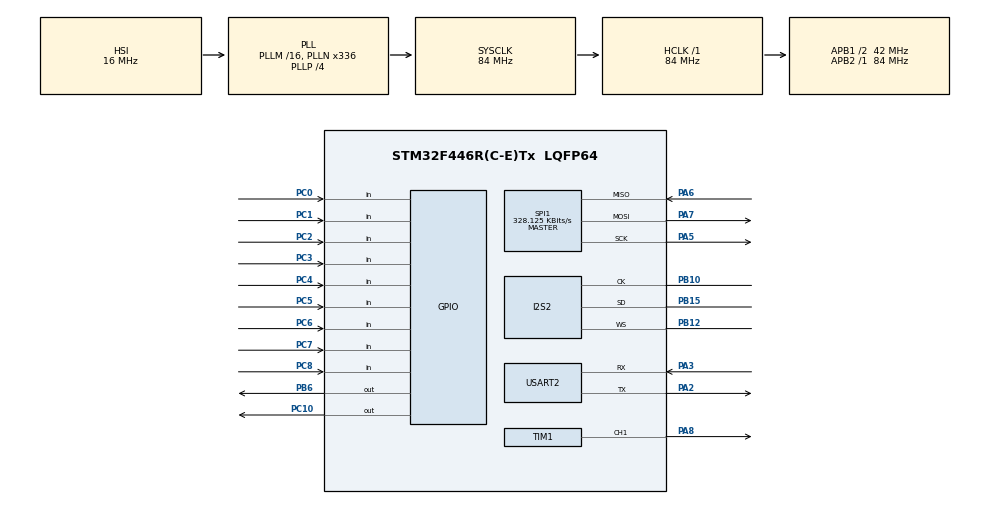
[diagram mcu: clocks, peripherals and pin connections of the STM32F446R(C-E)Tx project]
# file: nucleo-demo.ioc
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Dma.Request0=TIM1_CH1
Dma.Request1=SPI2_TX
Dma.SPI2_TX.1.Direction=DMA_MEMORY_TO_PERIPH
Dma.SPI2_TX.1.FIFOMode=DMA_FIFOMODE_DISABLE
Dma.SPI2_TX.1.Instance=DMA1_Stream4
Dma.SPI2_TX.1.MemDataAlignment=DMA_MDATAALIGN_HALFWORD
Dma.SPI2_TX.1.MemInc=DMA_MINC_ENABLE
Dma.SPI2_TX.1.Mode=DMA_CIRCULAR
Dma.SPI2_TX.1.PeriphDataAlignment=DMA_PDATAALIGN_HALFWORD
Dma.SPI2_TX.1.PeriphInc=DMA_PINC_DISABLE
Dma.SPI2_TX.1.Priority=DMA_PRIORITY_LOW
Dma.TIM1_CH1.0.Direction=DMA_MEMORY_TO_PERIPH
Dma.TIM1_CH1.0.FIFOMode=DMA_FIFOMODE_DISABLE
Dma.TIM1_CH1.0.Instance=DMA2_Stream1
Dma.TIM1_CH1.0.MemDataAlignment=DMA_MDATAALIGN_HALFWORD
Dma.TIM1_CH1.0.MemInc=DMA_MINC_ENABLE
Dma.TIM1_CH1.0.Mode=DMA_NORMAL
Dma.TIM1_CH1.0.PeriphDataAlignment=DMA_PDATAALIGN_HALFWORD
Dma.TIM1_CH1.0.PeriphInc=DMA_PINC_DISABLE
Dma.TIM1_CH1.0.Priority=DMA_PRIORITY_LOW
I2S2.AudioFreq=I2S_AUDIOFREQ_16K
I2S2.ErrorAudioFreq=-0.26 %
I2S2.FullDuplexMode=I2S_FULLDUPLEXMODE_DISABLE
I2S2.Instance=SPI$Index
I2S2.RealAudioFreq=15.957 KHz
I2S2.VirtualMode=I2S_MODE_MASTER
Mcu.Family=STM32F4
Mcu.Name=STM32F446R(C-E)Tx
Mcu.Package=LQFP64
NVIC.DMA1_Stream4_IRQn=true\:2\:0\:false\:false\:true\:false\:true\:true
NVIC.DMA2_Stream1_IRQn=true\:1\:0\:false\:false\:true\:false\:true\:true
NVIC.PriorityGroup=NVIC_PRIORITYGROUP_4
NVIC.TIM2_IRQn=true\:1\:0\:false\:false\:true\:true\:true\:true
PA2.Mode=Asynchronous
PA2.Signal=USART2_TX
PA3.Mode=Asynchronous
PA3.Signal=USART2_RX
PA5.Mode=Full_Duplex_Master
PA5.Signal=SPI1_SCK
PA6.GPIO_PuPd=GPIO_PULLUP
PA6.Mode=Full_Duplex_Master
PA6.Signal=SPI1_MISO
PA7.Mode=Full_Duplex_Master
PA7.Signal=SPI1_MOSI
PA8.Signal=S_TIM1_CH1
PB10.GPIO_PuPd=GPIO_PULLDOWN
PB10.Mode=Half_Duplex_Master
PB10.Signal=I2S2_CK
PB12.GPIO_PuPd=GPIO_PULLDOWN
PB12.Mode=Half_Duplex_Master
PB12.Signal=I2S2_WS
PB15.GPIO_PuPd=GPIO_PULLDOWN
PB15.Mode=Half_Duplex_Master
PB15.Signal=I2S2_SD
PB6.GPIO_PuPd=GPIO_NOPULL
PB6.Signal=GPIO_Output
PC0.GPIO_PuPd=GPIO_PULLUP
PC0.Signal=GPIO_Input
PC1.GPIO_PuPd=GPIO_PULLUP
PC1.Signal=GPIO_Input
PC10.GPIO_PuPd=GPIO_NOPULL
PC10.PinState=GPIO_PIN_RESET
PC10.Signal=GPIO_Output
PC2.GPIO_PuPd=GPIO_PULLUP
PC2.Signal=GPIO_Input
PC3.GPIO_PuPd=GPIO_PULLUP
PC3.Signal=GPIO_Input
PC4.GPIO_PuPd=GPIO_PULLUP
PC4.Signal=GPIO_Input
PC5.GPIO_PuPd=GPIO_PULLUP
PC5.Signal=GPIO_Input
PC6.GPIO_PuPd=GPIO_PULLUP
PC6.Signal=GPIO_Input
PC7.GPIO_PuPd=GPIO_PULLUP
PC7.Signal=GPIO_Input
PC8.GPIO_PuPd=GPIO_PULLUP
PC8.Signal=GPIO_Input
ProjectManager.HeapSize=0x200
ProjectManager.StackSize=0x400
ProjectManager.TargetToolchain=EWARM V8.50
RCC.AHBFreq_Value=84000000
RCC.APB1CLKDivider=RCC_HCLK_DIV2
RCC.APB1Freq_Value=42000000
RCC.APB1TimFreq_Value=84000000
RCC.APB2Freq_Value=84000000
RCC.APB2TimFreq_Value=84000000
RCC.CortexFreq_Value=84000000
RCC.FLatency-AdvancedSettings=FLASH_LATENCY_2
RCC.HCLKFreq_Value=84000000
RCC.HSE_VALUE=8000000
RCC.HSI_VALUE=16000000
RCC.LSE_VALUE=32768
RCC.PLLN=336
RCC.PLLP=RCC_PLLP_DIV4
RCC.SYSCLKFreq_VALUE=84000000
RCC.SYSCLKSource=RCC_SYSCLKSOURCE_PLLCLK
RCC.USBFreq_Value=168000000
RCC.VCOOutputFreq_Value=336000000
SH.S_TIM1_CH1.0=TIM1_CH1,PWM Generation1 CH1
SPI1.BaudRatePrescaler=SPI_BAUDRATEPRESCALER_256
SPI1.CalculateBaudRate=328.125 KBits/s
SPI1.Direction=SPI_DIRECTION_2LINES
SPI1.Mode=SPI_MODE_MASTER
SPI1.VirtualType=VM_MASTER
TIM1.Channel-PWM\ Generation1\ CH1=TIM_CHANNEL_1
TIM1.CounterMode=TIM_COUNTERMODE_UP
TIM1.Period=105-1
TIM2.AutoReloadPreload=TIM_AUTORELOAD_PRELOAD_DISABLE
TIM2.Channel-Output\ Compare1\ No\ Output=TIM_CHANNEL_1
TIM2.OC1Preload=DISABLE
TIM2.Period=0xffffffff
TIM2.Pulse-Output\ Compare1\ No\ Output=84000
USART2.VirtualMode=VM_ASYNC
VP_TIM1_VS_ClockSourceINT.Mode=Internal
VP_TIM2_VS_ClockSourceINT.Mode=Internal
VP_TIM2_VS_no_output1.Mode=Output Compare1 No Output
board=NUCLEO-F446RE

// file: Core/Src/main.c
/* USER CODE BEGIN Header */
/**
  ******************************************************************************
  * @file           : main.c
  * @brief          : Main program body
  ******************************************************************************
  * @attention
  *
  * Copyright (c) 2026 STMicroelectronics.
  * All rights reserved.
  *
  * This software is licensed under terms that can be found in the LICENSE file
  * in the root directory of this software component.
  * If no LICENSE file comes with this software, it is provided AS-IS.
  *
  ******************************************************************************
  */
/* USER CODE END Header */
#include "main.h"
#include "dma.h"
#include "i2s.h"
#include "spi.h"
#include "stm32f4xx_hal.h"
#include "tim.h"
#include "usart.h"
#include "gpio.h"

/* USER CODE BEGIN Includes */
//#include "sd.h"
#include <stdint.h>
#include <stdio.h>
#include <sys/_intsup.h>

#include "led.h"
#include "input.h"
#include "dac.h"
#include "sd.h"

/* USER CODE END Includes */

/* USER CODE BEGIN PV */
typedef struct {
  uint32_t time;
  uint8_t lanes;
} note_t;

note_t rows[] = {
  {300, 0b11111111},
  {375, 0b01000000},
  {450, 0b00010000},
  {600, 0b00000100},
  {825, 0b00000001},
  {975, 0b00000100},
  {1350, 0b00010000},
  {1650, 0b00100000},
  {1875, 0b00001000},
  {2100, 0b10001001},
  {2475, 0b00100110},
  {2700, 0b01000000},
  {3150, 0b00010001},
  {3450, 0b00000100},
  {4050, 0b10000000},
  {4200, 0b00100000},
};
/* USER CODE END PV */

void SystemClock_Config(void);

/* USER CODE BEGIN 0 */
#define FRAME_SIZE 19
#define SCROLL_SPEED 75
uint32_t time_frame = FRAME_SIZE * SCROLL_SPEED;
uint8_t base = 0;
#define FRAME_MS 33
uint32_t num_rows = sizeof(rows) / sizeof(rows[0]);
uint32_t chart_time;
uint32_t song_start;

// ms since song start, looping at the last note
uint32_t get_chart_time() {
  return (HAL_GetTick() - song_start) % rows[num_rows - 1].time;
}

//TODO: bug, final row is not properly cleared
void update_display() {
  //skip first row (red bar)
  for (int i = 1; i < FRAME_SIZE; i++)
    for (int j = 0; j <= 7; j++)
      set_LED(xy(j, i), 0, 0, 0);

  for (int i = 0; i < num_rows; i++) {
    if (rows[i].time < chart_time) continue;

    uint8_t y_pos = (rows[i].time - chart_time) / SCROLL_SPEED;
    if (y_pos >= FRAME_SIZE || y_pos < 1) continue;

    //first col always red
    if (rows[i].lanes >> 7 & 1)
      set_LED(xy(0, y_pos), 255, 0, 0);

    for (int j = 0; j < 7; j++)
      if (rows[i].lanes >> j & 1)
        //reverse for endianness
        if (j & 1)
          set_LED(xy(7-j, y_pos), 0, 0, 255);
        else
          set_LED(xy(7-j, y_pos), 255, 255, 255);
  }
}

/* USER CODE END 0 */

int main(void)
{

  /* MCU Configuration--------------------------------------------------------*/

  /* Reset of all peripherals, Initializes the Flash interface and the Systick. */
  HAL_Init();

  /* Configure the system clock */
  SystemClock_Config();

  /* Initialize all configured peripherals */
  MX_GPIO_Init();
  MX_DMA_Init();
  MX_SPI1_Init();
  MX_I2S2_Init();
  MX_USART2_UART_Init();
  MX_TIM2_Init();
  MX_TIM1_Init();
  /* USER CODE BEGIN 2 */
  if (sd_init() != 0)
    printf("ERROR: SD init failed\n");
  init_input_buffer();
  audio_set_rate(16000);
  audio_init();

  /* USER CODE END 2 */

  /* Infinite loop */
  /* USER CODE BEGIN WHILE */

  for (int i = 0; i < 8; i++) {
    set_LED(xy(i, 0), 255, 0, 0);
  }
  song_start = HAL_GetTick();
  uint32_t last_frame = song_start;
  while (1) {
    if (HAL_GetTick() - last_frame >= FRAME_MS) {
      last_frame += FRAME_MS;
      chart_time = get_chart_time();
      update_display();
      set_brightness(1);
      send_LED();
    }

    input_event_t e;
    while(poll_input_event(&e)) {
      //TODO: lanes start count at 1 (0 means no event), this system needs to be improved
      if (e.lane > 0) {
        play_audio(e.lane - 1);
      }
    }

    /* USER CODE END WHILE */

  }
}

void SystemClock_Config(void)
{
  RCC_OscInitTypeDef RCC_OscInitStruct = {0};
  RCC_ClkInitTypeDef RCC_ClkInitStruct = {0};

  /** Configure the main internal regulator output voltage
  */
  __HAL_RCC_PWR_CLK_ENABLE();
  __HAL_PWR_VOLTAGESCALING_CONFIG(PWR_REGULATOR_VOLTAGE_SCALE3);

  /** Initializes the RCC Oscillators according to the specified parameters
  * in the RCC_OscInitTypeDef structure.
  */
  RCC_OscInitStruct.OscillatorType = RCC_OSCILLATORTYPE_HSI;
  RCC_OscInitStruct.HSIState = RCC_HSI_ON;
  RCC_OscInitStruct.HSICalibrationValue = RCC_HSICALIBRATION_DEFAULT;
  RCC_OscInitStruct.PLL.PLLState = RCC_PLL_ON;
  RCC_OscInitStruct.PLL.PLLSource = RCC_PLLSOURCE_HSI;
  RCC_OscInitStruct.PLL.PLLM = 16;
  RCC_OscInitStruct.PLL.PLLN = 336;
  RCC_OscInitStruct.PLL.PLLP = RCC_PLLP_DIV4;
  RCC_OscInitStruct.PLL.PLLQ = 2;
  RCC_OscInitStruct.PLL.PLLR = 2;
  if (HAL_RCC_OscConfig(&RCC_OscInitStruct) != HAL_OK)
  {
    Error_Handler();
  }

  /** Initializes the CPU, AHB and APB buses clocks
  */
  RCC_ClkInitStruct.ClockType = RCC_CLOCKTYPE_HCLK|RCC_CLOCKTYPE_SYSCLK
                              |RCC_CLOCKTYPE_PCLK1|RCC_CLOCKTYPE_PCLK2;
  RCC_ClkInitStruct.SYSCLKSource = RCC_SYSCLKSOURCE_PLLCLK;
  RCC_ClkInitStruct.AHBCLKDivider = RCC_SYSCLK_DIV1;
  RCC_ClkInitStruct.APB1CLKDivider = RCC_HCLK_DIV2;
  RCC_ClkInitStruct.APB2CLKDivider = RCC_HCLK_DIV1;

  if (HAL_RCC_ClockConfig(&RCC_ClkInitStruct, FLASH_LATENCY_2) != HAL_OK)
  {
    Error_Handler();
  }
}

/* USER CODE BEGIN 4 */
void HAL_TIM_OC_DelayElapsedCallback(TIM_HandleTypeDef *htim) {
  if (htim->Instance == TIM2 && htim->Channel == HAL_TIM_ACTIVE_CHANNEL_1) {
    // 1ms at 84MHz
    TIM2->CCR1 = TIM2->CNT + 84000;

    load_input_buffer(get_chart_time());
  }
}

int _write(int fd, char *ptr, int len) {
  HAL_UART_Transmit(&huart2, (uint8_t*)ptr, len, HAL_MAX_DELAY);
  return len;
}

/* USER CODE END 4 */

void Error_Handler(void)
{
  __disable_irq();
  while (1)
  {
  }
}
